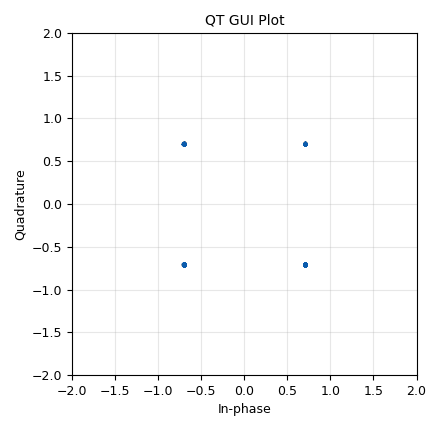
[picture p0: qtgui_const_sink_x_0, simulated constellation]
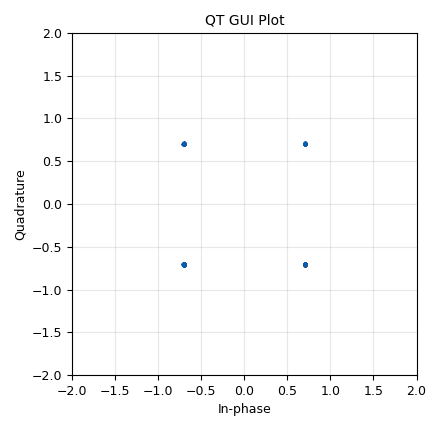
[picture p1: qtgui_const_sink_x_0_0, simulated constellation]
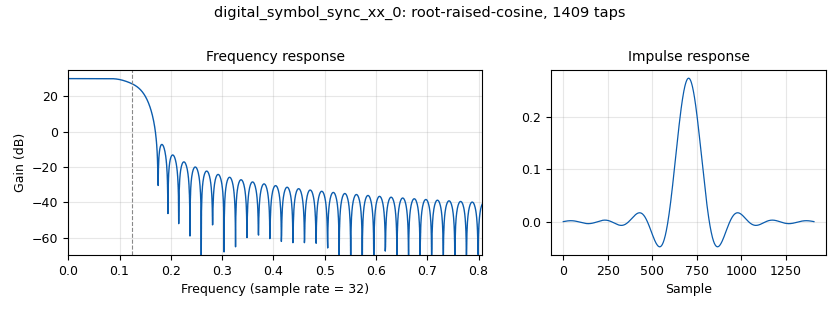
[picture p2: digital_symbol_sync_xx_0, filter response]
options:
  parameters:
    category: Custom
    generate_options: qt_gui
    id: mpsk_stage3
    output_language: python
  states: {}

blocks:
- name: arity
  id: variable
  parameters:
    value: '4'
  states: {}
- name: excess_bw
  id: variable
  parameters:
    value: '0.35'
  states: {}
- name: freq_offset
  id: variable_qtgui_range
  parameters:
    gui_hint: 2,1,1,1
    label: 'Channel: Frequency Offset'
    start: '-0.1'
    step: '0.001'
    stop: '0.1'
    value: '0'
  states: {}
- name: nfilts
  id: variable
  parameters:
    value: '32'
  states: {}
- name: noise_volt
  id: variable_qtgui_range
  parameters:
    gui_hint: 2,0,1,1
    label: 'Channel: Noise Voltage'
    start: '0'
    step: '0.01'
    stop: '1'
    value: '0.0'
  states: {}
- name: phase_bw
  id: variable_qtgui_range
  parameters:
    gui_hint: 4,1,1,1
    label: 'Phase: Bandwidth'
    start: '0.0'
    step: '0.01'
    stop: '1.0'
    value: 6.28/100.0
    widget: slider
  states: {}
- name: qpsk
  id: variable_constellation_rect
  parameters:
    const_points: '[0.707+0.707j, -0.707+0.707j, -0.707-0.707j, 0.707-0.707j]'
    imag_sect: '2'
    real_sect: '2'
    rot_sym: '4'
    sym_map: '[0, 1, 2, 3]'
    w_imag_sect: '1'
    w_real_sect: '1'
  states: {}
- name: rrc_taps
  id: variable
  parameters:
    value: firdes.root_raised_cosine(nfilts, nfilts, 1.0/float(sps), 0.35, 11*sps*nfilts)
  states: {}
- name: samp_rate
  id: variable
  parameters:
    value: '32000'
  states: {}
- name: sps
  id: variable
  parameters:
    value: '4'
  states: {}
- name: taps
  id: variable
  parameters:
    value: '[1.0 + 0.0j, ]'
  states: {}
- name: time_offset
  id: variable_qtgui_range
  parameters:
    gui_hint: 3,0,1,1
    label: 'Channel: Timing Offset'
    start: '0.999'
    step: '0.0001'
    stop: '1.001'
    value: '1.00'
  states: {}
- name: timing_loop_bw
  id: variable_qtgui_range
  parameters:
    gui_hint: 3,1,1,1
    label: 'Time: BW'
    start: '0.0'
    step: '0.005'
    stop: '0.2'
    value: 6.28/100.0
  states: {}
- name: analog_random_source_x_0_0
  id: analog_random_source_x
  parameters:
    max: '256'
    min: '0'
    num_samps: '10000'
    repeat: 'True'
    type: byte
  states: {}
- name: blocks_throttle_0
  id: blocks_throttle
  parameters:
    samples_per_second: samp_rate
    type: complex
  states: {}
- name: channels_channel_model_0
  id: channels_channel_model
  parameters:
    epsilon: time_offset
    freq_offset: freq_offset
    noise_voltage: noise_volt
    seed: '0'
    taps: taps
  states: {}
- name: digital_constellation_modulator_0
  id: digital_constellation_modulator
  parameters:
    constellation: qpsk
    differential: 'True'
    excess_bw: excess_bw
    samples_per_symbol: sps
  states: {}
- name: digital_costas_loop_cc_0
  id: digital_costas_loop_cc
  parameters:
    order: arity
    w: phase_bw
  states: {}
- name: digital_symbol_sync_xx_0
  id: digital_symbol_sync_xx
  parameters:
    damping: '1.0'
    loop_bw: timing_loop_bw
    max_dev: '1.5'
    nfilters: '32'
    osps: '1'
    pfb_mf_taps: rrc_taps
    resamp_type: digital.IR_PFB_MF
    sps: sps*1.001
    ted_gain: '1.0'
    ted_type: digital.TED_MUELLER_AND_MULLER
    type: cc
  states: {}
- name: import_math
  id: import
  parameters:
    imports: import math
  states: {}
- name: qtgui_const_sink_x_0
  id: qtgui_const_sink_x
  parameters:
    gui_hint: 0,0,1,1
    name: QT GUI Plot
    size: '1024'
    type: complex
  states: {}
- name: qtgui_const_sink_x_0_0
  id: qtgui_const_sink_x
  parameters:
    gui_hint: 0,1,1,1
    name: QT GUI Plot
    size: '1024'
    type: complex
  states: {}

connections:
- [analog_random_source_x_0_0, '0', digital_constellation_modulator_0, '0']
- [blocks_throttle_0, '0', channels_channel_model_0, '0']
- [channels_channel_model_0, '0', digital_symbol_sync_xx_0, '0']
- [digital_constellation_modulator_0, '0', blocks_throttle_0, '0']
- [digital_costas_loop_cc_0, '0', qtgui_const_sink_x_0_0, '0']
- [digital_symbol_sync_xx_0, '0', digital_costas_loop_cc_0, '0']
- [digital_symbol_sync_xx_0, '0', qtgui_const_sink_x_0, '0']

metadata:
  file_format: 1
